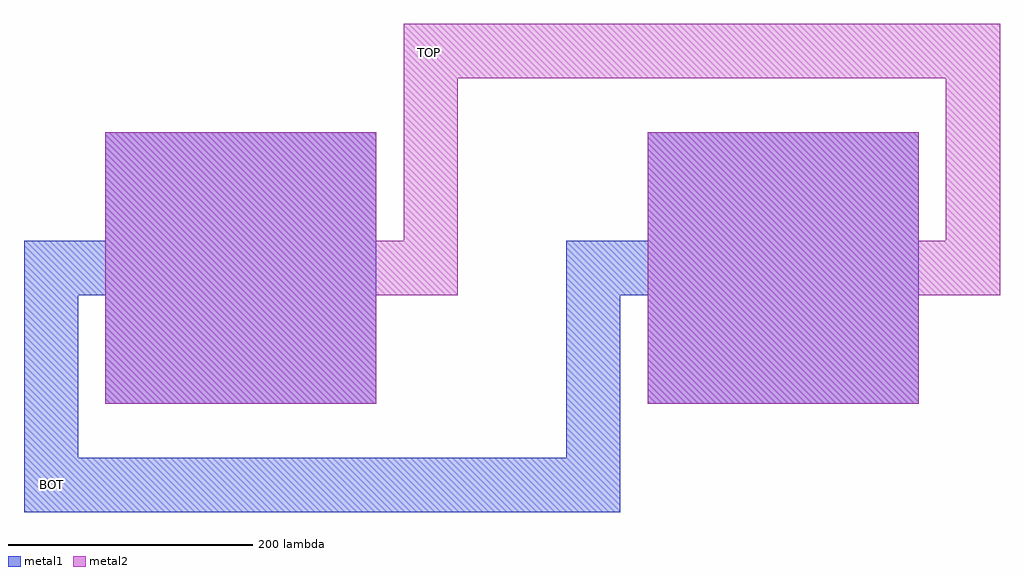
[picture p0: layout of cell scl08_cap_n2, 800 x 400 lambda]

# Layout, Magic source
magic
tech SCL_CP8D
magscale 1 9
<< metal1 >>
rect 0 1200 2000 2000
rect 4000 1200 6000 2000
rect -600 800 2000 1200
rect -600 -400 -200 800
rect 0 0 2000 800
rect 3400 800 6000 1200
rect 3400 -400 3800 800
rect 4000 0 6000 800
rect -600 -800 3800 -400
<< metal2 >>
rect 2200 2400 6600 2800
rect 0 1200 2000 2000
rect 2200 1200 2600 2400
rect 0 800 2600 1200
rect 4000 1200 6000 2000
rect 6200 1200 6600 2400
rect 4000 800 6600 1200
rect 0 0 2000 800
rect 4000 0 6000 800
<< labels >>
rlabel metal1 s -396 -594 -396 -594 4 BOT
port 1 nsew
rlabel metal2 s 2394 2592 2394 2592 4 TOP
port 2 nsew
<< end >>
